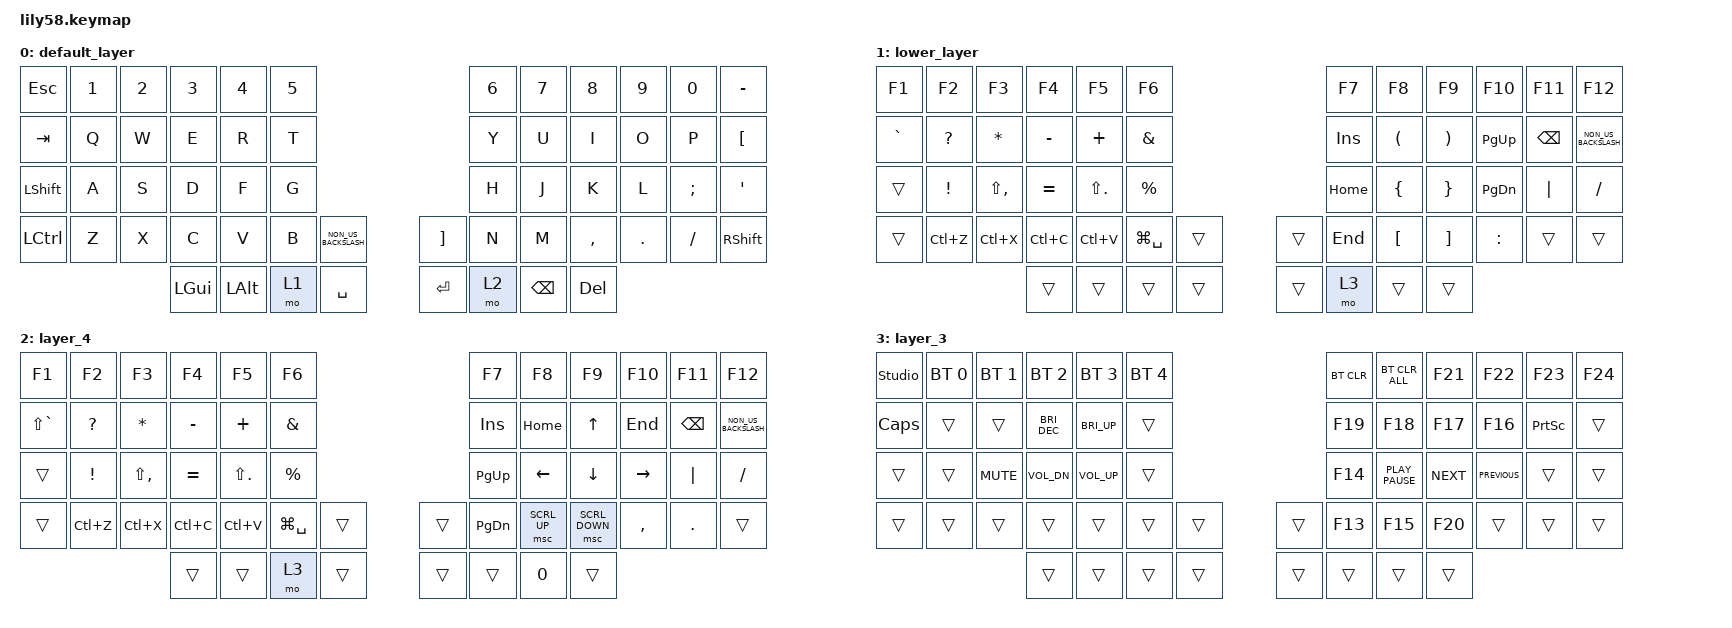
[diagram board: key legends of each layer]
/*
 * Copyright (c) 2020 The ZMK Contributors
 *
 * SPDX-License-Identifier: MIT
 */

#include <behaviors.dtsi>
#include <dt-bindings/zmk/bt.h>
#include <dt-bindings/zmk/keys.h>
#include <dt-bindings/zmk/pointing.h>

/ {
    keymap {
        compatible = "zmk,keymap";

        default_layer {
            // ------------------------------------------------------------------------------------------------------------
            // |  ESC  |  1  |  2  |  3   |  4   |  5   |                   |  6   |  7    |  8    |  9   |   0   |   `   |
            // |  TAB  |  Q  |  W  |  E   |  R   |  T   |                   |  Y   |  U    |  I    |  O   |   P   |   -   |
            // |  CTRL |  A  |  S  |  D   |  F   |  G   |                   |  H   |  J    |  K    |  L   |   ;   |   '   |
            // | SHIFT |  Z  |  X  |  C   |  V   |  B   |   "["  |  |  "]"  |  N   |  M    |  ,    |  .   |   /   | SHIFT |
            //                     | ALT  | GUI  | LOWER|  SPACE |  | ENTER | RAISE| BSPC  | GUI   |

            bindings = <
&kp ESC         &kp N1  &kp N2  &kp N3        &kp N4        &kp N5                                    &kp N6  &kp N7         &kp N8     &kp N9   &kp N0    &kp MINUS
&kp TAB         &kp Q   &kp W   &kp E         &kp R         &kp T                                     &kp Y   &kp U          &kp I      &kp O    &kp P     &kp LEFT_BRACKET
&kp LEFT_SHIFT  &kp A   &kp S   &kp D         &kp F         &kp G                                     &kp H   &kp J          &kp K      &kp L    &kp SEMI  &kp SQT
&kp LCTRL       &kp Z   &kp X   &kp C         &kp V         &kp B   &kp NON_US_BACKSLASH    &kp RBKT  &kp N   &kp M          &kp COMMA  &kp DOT  &kp FSLH  &kp RSHFT
                                &kp LEFT_GUI  &kp LEFT_ALT  &mo 1   &kp SPACE               &kp RET   &mo 2   &kp BACKSPACE  &kp DEL
            >;
        };

        lower_layer {
            // ------------------------------------------------------------------------------------------------------------
            // | BTCLR | BT1 | BT2 |  BT3 |  BT4 |  BT5 |                   |      |       |       |      |       |       |
            // |  F1   |  F2 |  F3 |  F4  |  F5  |  F6  |                   |  F7  |  F8   |  F9   |  F10 |  F11  |  F12  |
            // |   `   |  !  |  @  |  #   |  $   |  %   |                   |  ^   |  &    |  *    |  (   |   )   |   ~   |
            // |       |     |     |      |      |      |        |  |       |      |  _    |  +    |  {   |   }   |  "|"  |
            //                     |      |      |      |        |  |       |      |       |       |

            bindings = <
&kp F1     &kp F2           &kp F3         &kp F4     &kp F5          &kp F6                           &kp F7      &kp F8                &kp F9                 &kp F10        &kp F11        &kp F12
&kp GRAVE  &kp QUESTION     &kp ASTERISK   &kp MINUS  &kp PLUS        &kp AMPERSAND                    &kp INSERT  &kp LEFT_PARENTHESIS  &kp RIGHT_PARENTHESIS  &kp PAGE_UP    &kp BACKSPACE  &kp NON_US_BACKSLASH
&trans     &kp EXCLAMATION  &kp LS(COMMA)  &kp EQUAL  &kp LS(PERIOD)  &kp PERCENT                      &kp HOME    &kp LEFT_BRACE        &kp RIGHT_BRACE        &kp PAGE_DOWN  &kp PIPE       &kp SLASH
&trans     &kp LC(Z)        &kp LC(X)      &kp LC(C)  &kp LC(V)       &kp LG(SPACE)  &trans    &trans  &kp END     &kp LEFT_BRACKET      &kp RIGHT_BRACKET      &kp COLON      &trans         &trans
                                           &trans     &trans          &trans         &trans    &trans  &mo 3       &trans                &trans
            >;
        };

        layer_4 {
            bindings = <
&kp F1         &kp F2           &kp F3         &kp F4     &kp F5          &kp F6                           &kp F7         &kp F8          &kp F9          &kp F10    &kp F11        &kp F12
&kp LS(GRAVE)  &kp QUESTION     &kp ASTRK      &kp MINUS  &kp PLUS        &kp AMPERSAND                    &kp INSERT     &kp HOME        &kp UP_ARROW    &kp END    &kp BACKSPACE  &kp NON_US_BACKSLASH
&trans         &kp EXCLAMATION  &kp LS(COMMA)  &kp EQUAL  &kp LS(PERIOD)  &kp PERCENT                      &kp PAGE_UP    &kp LEFT_ARROW  &kp DOWN        &kp RIGHT  &kp PIPE       &kp SLASH
&trans         &kp LC(Z)        &kp LC(X)      &kp LC(C)  &kp LC(V)       &kp LG(SPACE)  &trans    &trans  &kp PAGE_DOWN  &msc SCRL_UP    &msc SCRL_DOWN  &kp COMMA  &kp PERIOD     &trans
                                               &trans     &trans          &mo 3          &trans    &trans  &trans         &kp N0          &trans
            >;
        };

        layer_3 {
            bindings = <
&studio_unlock  &bt BT_SEL 0  &bt BT_SEL 1  &bt BT_SEL 2   &bt BT_SEL 3  &bt BT_SEL 4                    &bt BT_CLR  &bt BT_CLR_ALL    &kp F21     &kp F22         &kp F23          &kp F24
&kp CAPSLOCK    &trans        &trans        &kp C_BRI_DEC  &kp C_BRI_UP  &trans                          &kp F19     &kp F18           &kp F17     &kp F16         &kp PRINTSCREEN  &trans
&trans          &trans        &kp K_MUTE    &kp C_VOL_DN   &kp C_VOL_UP  &trans                          &kp F14     &kp K_PLAY_PAUSE  &kp K_NEXT  &kp K_PREVIOUS  &trans           &trans
&trans          &trans        &trans        &trans         &trans        &trans        &trans    &trans  &kp F13     &kp F15           &kp F20     &trans          &trans           &trans
                                            &trans         &trans        &trans        &trans    &trans  &trans      &trans            &trans
            >;
        };
    };
};
